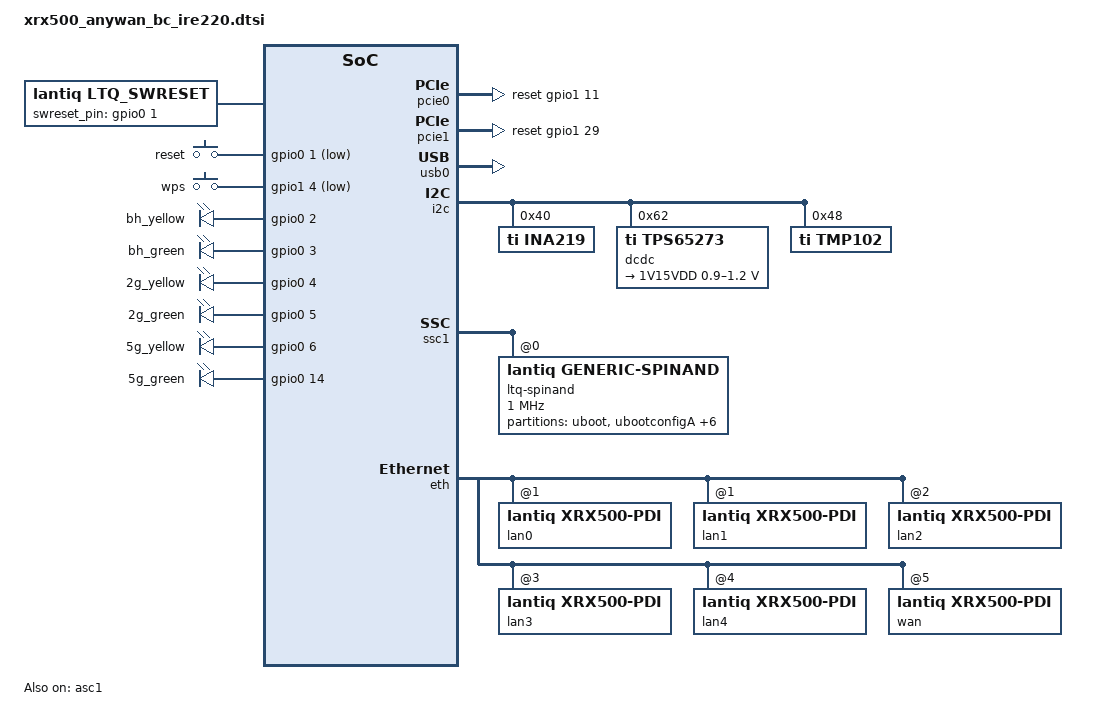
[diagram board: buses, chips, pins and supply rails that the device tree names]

/******************************************************************************
** Board configuration: xRX500 ANYWAN Board
******************************************************************************/
/ {

/******************************************************************************
** Board configuration: Enable buttons on the board.  
******************************************************************************/
	ltq_swreset {
	      compatible = "lantiq,ltq_swreset";
	      swreset_pin = <&gpio0 1 0>;
	      swreset_bit = <1>;
	      status = "ok";
	};
    gpio-keys-polled {
        compatible = "gpio-keys-polled";
        #address-cells = <1>;
        #size-cells = <0>;
        poll-interval = <100>;

        reset {
            label = "reset";
            gpios = <&gpio0 1 1>;
            linux,code = <0x198>;
        };
        wps {
            label = "wps";
            gpios = <&gpio1 4 1>;
            linux,code = <0x211>;
        };
    };
	gpio-leds {
		compatible = "gpio-leds";
		bh_yellow {
			label = "bh_yellow";
			gpios = <&gpio0 2 0>;
			status = "ok";
		};
		bh_green {
			label = "bh_green";
			gpios = <&gpio0 3 0>;
			status = "ok";
		};
		5g_yellow {
			label = "2g_yellow";
			gpios = <&gpio0 4 0>;
			status = "ok";
		};
		5g_green {
			label = "2g_green";
			gpios = <&gpio0 5 0>;
			status = "ok";
		};
		2g_yellow {
			label = "5g_yellow";
			gpios = <&gpio0 6 0>;
			status = "ok";
		};
		2g_green {
			label = "5g_green";
			gpios = <&gpio0 14 0>;
			status = "ok";
		};
	};
/*****************************************************************************/
};

/******************************************************************************
** Board configuration: Enable Nand flash pinctrl. 
******************************************************************************/
&pinctrl_nand {
    status = "ok";
}; 

/******************************************************************************
** Board configuration: Enable spi1 SS.  
******************************************************************************/

&pinctrl_spi1 {  
	status = "ok";
};

/******************************************************************************
** Board configuration: Enable spi0 configuration.
******************************************************************************/

&pinctrl_spi0 {
		status = "disabled";
};

/* enable this for second uart */
&asc1 {
	status = "okay";
};

/******************************************************************************
** Board configuration: Enable PCIe board configuration.
** PCIE sub-system feature configuration, the pcie0/1/2 are defined in Soc level  
******************************************************************************/
&pcie0 {
	status = "ok";
	lantiq,rst-high-active = <0>; /* 0 - low activ, 1 -- high active */
	lantiq,rst-interval = <200>; /* in mili-seconds, up to 500 ms*/
	lantiq,inbound-swap = <1>; /* 0 -- no swap, 1 -- swap */
	lantiq,outbound-swap = <0>; /* 0 -- no swap, 1 -- swap */
	lantiq,phy-mode = <5>; /* 0 -36Mhz, 1 - 36MHzSSC, 2 - 25Mhz, 3 - 25MHzSSC, 4 - 100MHz, 5 - 100MHz SSC */
	reset-gpio = <&gpio1 11 0>; // default value , it can be updated on board. 
};

&pcie1 {
	status = "ok";
	lantiq,rst-high-active = <0>; /* 0 - low activ, 1 -- high active */
	lantiq,rst-interval = <200>; /* in mili-seconds, up to 500 ms*/
	lantiq,inbound-swap = <1>; /* 0 -- no swap, 1 -- swap */
	lantiq,outbound-swap = <0>; /* 0 -- no swap, 1 -- swap */
	lantiq,phy-mode = <5>; /* 0 -36Mhz, 1 - 36MHzSSC, 2 - 25Mhz, 3 - 25MHzSSC, 4 - 100MHz, 5 - 100MHz SSC */
	reset-gpio = <&gpio1 29 0>;// default value , it can be updated on board. 
};

/******************************************************************************
** Board configuration: Enable USB board configuration.  
******************************************************************************/
&usb0{
	status = "ok";
	vbus-gpio = <&gpio0 8 0>;
};


/*****************************************************************************/

/******************************************************************************
** Board configuration: Enable Shift register LED board configuration.  
******************************************************************************/



/******************************************************************************
** Board configuration: Enable Switch MDC/MDIO board setting.   
******************************************************************************/
&pinctrl_mdio {
			status="disable";
};
/******************************************************************************
** Board configuration: Enable CoC power managment board feature  
******************************************************************************/
&pinctrl_i2c {
			status="ok";
};

&i2c {
			status = "ok";

	ina219: ina219@40 {
		compatible = "ti,ina219";
		reg = <0x40>;
		shunt-resistor = <10000>;
		rail-name = "PWR_12V";
		calibration-factor = <40960000>;
		};

	dcdc:tps65273@62 {
		compatible = "ti,tps65273";
		reg = <0x62>;

		regulators {
			dcdc2 {
				regulator-name = "1V15VDD";
				regulator-always-on;
				regulator-min-microvolt = <900000>;
				regulator-max-microvolt = <1200000>;
				vout-slew-rate = <0>; 
				vout-psm-mode  = <0>;
				vout-irdrop-offset  = <10000>;
			};
		};
	};
	tmp102@48 {
		compatible = "ti,tmp102";
		reg = <0x48>;
	};
};
/******************************************************************************
** Board configuration: Enable SSC1 to support standard SPI devices (SPI Flash)  
******************************************************************************/
&ssc1 {
		status="ok";
		ltq-spinand@0 {
				#address-cells = <1>;
				#size-cells = <1>;
				reg = <0 1>;
				compatible = "lantiq,generic-spinand";
				linux,mtd-name = "17c00000.nand-parts";
				spi-max-frequency = <1000000>;

				partition@0 {
					label = "uboot";
					reg = <0x000000 0x100000>;
				};

				partition@100000 {
						label = "ubootconfigA";
						reg = <0x100000 0x40000>;
				};
				partition@140000 {
						label = "ubootconfigB";
						reg = <0x140000 0x40000>;
				};
				partition@180000 {
						label = "gphyfirmware";
						reg = <0x180000 0x40000>;
				};
				partition@1c0000 {
						label = "calibration";
						reg = <0x1c0000 0x100000>;
				};	
				
				partition@2c0000 {
						label = "Bootcore";
						reg = <0x2c0000 0x1000000>;
				};
				partition@12c0000 {
						label = "system_sw";
						reg = <0x12c0000 0x6C00000>;
				};
				partition@7Ec0000 {
					label = "res";
						reg = <0x7EC0000 0x140000>;
				};
			};
};

/******************************************************************************
** Board configuration: Configure LAN/WAN interfaces  
******************************************************************************/
&eth {
	status = "ok";
	lan0: interface@0 {
		compatible = "lantiq,xrx500-pdi";
		#address-cells = <1>;
		#size-cells = <0>;
		reg = <1>;
		ethernet@0 {
			compatible = "lantiq,xrx500-pdi-port";
			reg = <1>;
			phy-mode = "rgmii";
		};
	};

	lan1: interface@1 {
		compatible = "lantiq,xrx500-pdi";
		#address-cells = <1>;
		#size-cells = <0>;
		reg = <1>;

		ethernet@1 {
			compatible = "lantiq,xrx500-pdi-port";
			reg = <2>;
			interrupt-parent = <&gic>;
			interrupts = <120>;
			phy-mode = "rgmii";
			phy-handle = <&phy2>;
		};
	};

	lan2: interface@2 {
		compatible = "lantiq,xrx500-pdi";
		#address-cells = <1>;
		#size-cells = <0>;
		reg = <2>;

		ethernet@2 {
			compatible = "lantiq,xrx500-pdi-port";
			reg = <3>;
			interrupt-parent = <&gic>;
			interrupts = <121>;
			phy-mode = "rgmii";
			phy-handle = <&phy3>;
		};
	};

	lan3: interface@3 {
		compatible = "lantiq,xrx500-pdi";
		#address-cells = <1>;
		#size-cells = <0>;
		reg = <3>;

		ethernet@3 {
			compatible = "lantiq,xrx500-pdi-port";
			reg = <4>;
			interrupt-parent = <&gic>;
			interrupts = <134>;
			phy-mode = "rgmii";
			phy-handle = <&phy4>;
		};
	};

	lan4: interface@4 {
		compatible = "lantiq,xrx500-pdi";
		#address-cells = <1>;
		#size-cells = <0>;
		reg = <4>;

		ethernet@4 {
			compatible = "lantiq,xrx500-pdi-port";
			reg = <5>;
			interrupt-parent = <&gic>;
			interrupts = <135>;
			phy-mode = "rgmii";
			phy-handle = <&phy5>;
		};
	};

	wan: interface@5 {
		compatible = "lantiq,xrx500-pdi";
		#address-cells = <1>;
		#size-cells = <0>;
		reg = <5>;
		lantiq,wan;

		ethernet@5 {
			compatible = "lantiq,xrx500-pdi-port";
			reg = <1>;
			interrupt-parent = <&gic>;
			interrupts = <119>;
			phy-mode = "rgmii";
			phy-handle = <&phy1>;
		};
	};
};

